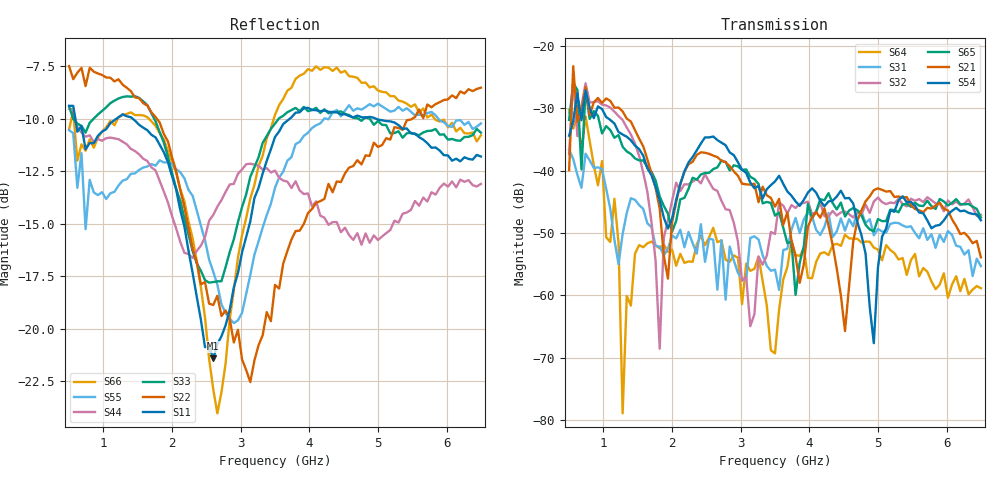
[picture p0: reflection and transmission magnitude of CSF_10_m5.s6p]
!Keysight Technologies,M9804A,MY58100912,A.14.10.03
!Date: Thursday, April 27, 2023 10:28:33
!Correction: S11(C  6-Port  )
!S12(C  6-Port  )
!S13(C  6-Port  )
!S14(C  6-Port  )
!S15(C  6-Port  )
!S16(C  6-Port  )
!S21(C  6-Port  )
!S22(C  6-Port  )
!S23(C  6-Port  )
!S24(C  6-Port  )
!S25(C  6-Port  )
!S26(C  6-Port  )
!S31(C  6-Port  )
!S32(C  6-Port  )
!S33(C  6-Port  )
!S34(C  6-Port  )
!S35(C  6-Port  )
!S36(C  6-Port  )
!S41(C  6-Port  )
!S42(C  6-Port  )
!S43(C  6-Port  )
!S44(C  6-Port  )
!S45(C  6-Port  )
!S46(C  6-Port  )
!S51(C  6-Port  )
!S52(C  6-Port  )
!S53(C  6-Port  )
!S54(C  6-Port  )
!S55(C  6-Port  )
!S56(C  6-Port  )
!S61(C  6-Port  )
!S62(C  6-Port  )
!S63(C  6-Port  )
!S64(C  6-Port  )
!S65(C  6-Port  )
!S66(C  6-Port  )
!S6P File: Measurement: :
# Hz S  RI  R 50
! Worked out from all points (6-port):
!   101 points, 500 MHz to 6.5 GHz, reference 50 ohm
!   strongest paths, dB at 500 MHz, 2 GHz, 3.5 GHz, 5 GHz, 6.5 GHz:
!     S54: -34.4, -47.7, -41.7, -55.5, -47.9
!     S21: -39.9, -48.3, -45.8, -42.8, -53.9
!     S65: -31.9, -49.8, -47.2, -47.7, -47.5
!     S32: -37.4, -44.9, -50.1, -44.3, -47.1
!     S31: -36.6, -50.4, -55.9, -49.3, -55.3
!     S64: -30.3, -52.6, -69.3, -52.6, -58.8
!   lowest |S11| = -21.4 dB at 2.6 GHz (marker M1), VSWR 1.19, Z = 42.5 + j2.21 ohm
!   |S11| at or under -10 dB: 590 MHz to 1.188 GHz (597.9 MHz wide, 67.3 % of centre); 1.428 GHz to 3.714 GHz (2.286 GHz wide, 88.9 % of centre); 4.975 GHz to end of sweep
